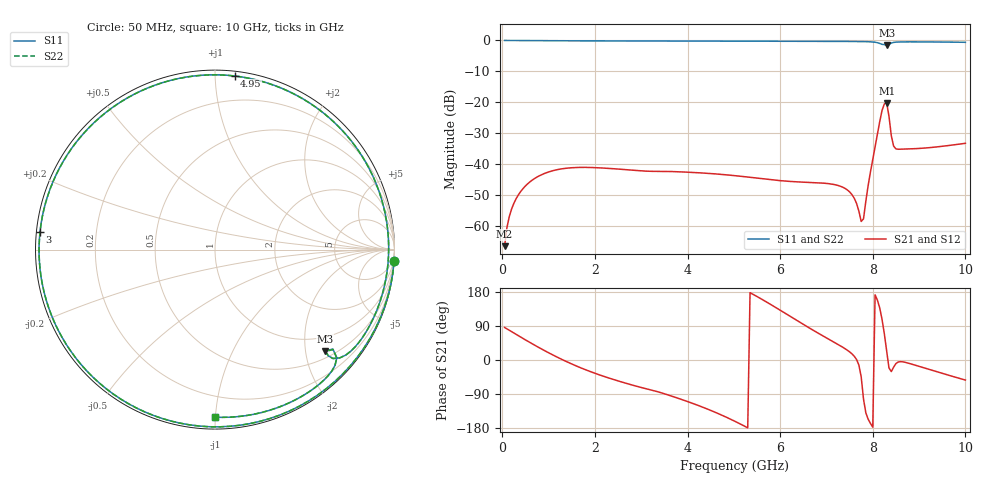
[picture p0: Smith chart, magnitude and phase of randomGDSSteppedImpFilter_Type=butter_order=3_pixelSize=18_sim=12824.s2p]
! freq	dB(S11)	phase(S11)	dB(S12)	phase(S12)
!  dB(S21)	phase(S21)	dB(S22)	phase(S22)
!S-par simulation data
#  GHz  S  DB  R 50
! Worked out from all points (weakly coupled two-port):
!   200 points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, 50 MHz to 10 GHz, reference 50 ohm
!   highest |S21| = -20.21 dB at 8.3 GHz (marker M1); lowest = -66.5 dB at 50 MHz (marker M2)
!   lowest |S11| = -1.6 dB at 8.3 GHz (marker M3), VSWR 11.09, Z = 32.2 - j120 ohm
!   |S11| at or under -10 dB: nowhere
!   |S22| runs from -1.5 to 0.0 dB; largest |S21 - S12| = 0
!   S11 on the Smith chart (normalised r, x): 50 MHz: 0, -30; 3 GHz: 0.01, +0.05; 4.95 GHz: 0.03, +1.12; 10 GHz: 0.07, -1.00
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0.05  -0.00 -3.8  -66.46 85.8  -66.46 85.8  -0.00 -3.8
0.2  -0.02 -15.0  -54.50 74.9  -54.50 74.9  -0.02 -15.0
0.5  -0.05 -37.0  -47.00 53.1  -47.00 53.1  -0.05 -37.0
1.1  -0.10 -78.8  -42.04 12.8  -42.04 12.8  -0.10 -78.8
1.75  -0.13 -119.3  -41.00 -23.4  -41.00 -23.4  -0.13 -119.3
2.35  -0.16 -152.7  -41.38 -49.5  -41.38 -49.5  -0.16 -152.8
3  -0.18 174.1  -42.12 -72.5  -42.12 -72.5  -0.18 174.0
3.4  -0.19 154.7  -42.29 -85.3  -42.29 -85.3  -0.19 154.6
4.2  -0.21 117.4  -42.71 -118.5  -42.71 -118.5  -0.22 117.3
4.95  -0.23 83.6  -43.57 -157.4  -43.57 -157.4  -0.24 83.5
5.05  -0.23 79.1  -43.72 -163.4  -43.72 -163.4  -0.24 79.1
5.9  -0.25 42.7  -45.15 138.9  -45.15 138.9  -0.25 42.7
6.7  -0.27 10.8  -45.90 79.4  -45.90 79.4  -0.28 10.8
7.45  -0.32 -16.7  -48.28 25.9  -48.28 25.9  -0.32 -16.8
7.75  -0.36 -27.4  -58.47 -44.4  -58.47 -44.4  -0.36 -27.5
7.8  -0.37 -29.2  -57.64 -103.2  -57.64 -103.2  -0.37 -29.3
8.2  -1.25 -43.2  -22.63 107.3  -22.63 107.3  -1.27 -43.1
8.3  -1.57 -42.8  -20.21 23.4  -20.21 23.4  -1.54 -42.6
8.35  -1.32 -40.1  -24.48 -21.1  -24.48 -21.1  -1.29 -40.2
8.4  -0.84 -41.6  -30.76 -30.5  -30.76 -30.5  -0.83 -41.7
8.5  -0.55 -46.1  -35.02 -9.3  -35.02 -9.3  -0.54 -46.3
10  -0.60 -90.0  -33.23 -53.0  -33.23 -53.0  -0.60 -90.1
